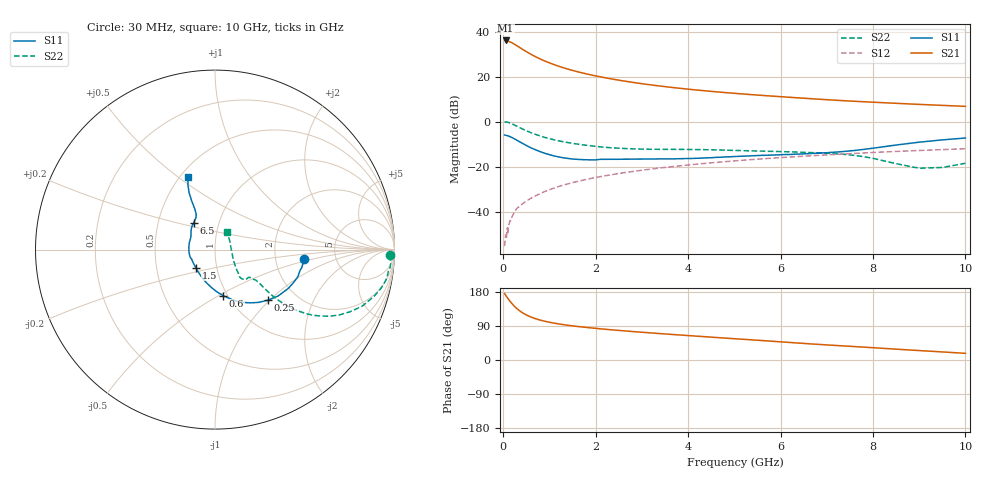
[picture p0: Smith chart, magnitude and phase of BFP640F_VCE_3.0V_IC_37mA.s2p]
! Infineon Technologies  Discrete & RF Semiconductors
! BFP640F
! VCE =  3.0 V,  IC =  37 mA
! Common Emitter S-Parameters:  Apr 2013
# GHz  S  MA  R  50
!  f  S11  S21  S12  S22
! GHz  MAG  ANG  MAG  ANG  MAG  ANG  MAG  ANG
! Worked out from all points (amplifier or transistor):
!   99 points, 30 MHz to 10 GHz, reference 50 ohm
!   highest |S21| = 36.0 dB at 50 MHz (marker M1)
!   |S21| within 3 dB of that: start of sweep to 345.3 MHz
!   unconditionally stable (mu >= 1): 1.663 GHz to end of sweep
!   at 350 MHz: K = 0.53, MSG = 35.3 dB, |S12| = -37.7 dB
!   at 3.5 GHz: K = 1.06, MAG = 16.5 dB, |S12| = -20.4 dB
!   at 10 GHz: K = 1.04, MAG = 8.2 dB, |S12| = -12.1 dB
!   S11 on the Smith chart (normalised r, x): 30 MHz: 2.95, -0.39; 250 MHz: 1.45, -0.98; 600 MHz: 0.95, -0.52; 1.5 GHz: 0.79, -0.16; 6.5 GHz: 0.76, +0.24; 10 GHz: 0.55, +0.54
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0.03  0.5011 -5.7  63.01 175.0  0.0017 77.4  0.9777 -1.8
0.05  0.4956 -9.3  63.3 171.5  0.003 121.8  0.9825 -4.3
0.11  0.478 -21.3  61.01 160.9  0.0047 87.9  0.9556 -12.1
0.15  0.4603 -28.4  58.69 154.6  0.0061 78.2  0.9235 -16.4
0.2  0.4358 -36.5  55.3 147.3  0.008 79.9  0.8786 -21.0
0.25  0.4078 -43.7  51.66 140.8  0.01 78.8  0.8288 -24.7
0.3  0.3817 -50.4  48.02 135.2  0.0119 75.5  0.7812 -27.8
0.4  0.3341 -61.8  41.32 126.0  0.0144 75.1  0.694 -32.2
0.5  0.2937 -71.3  35.73 118.9  0.0172 74.1  0.6234 -35.0
0.6  0.2605 -80.0  31.21 113.4  0.0197 74.4  0.5644 -36.8
0.7  0.2349 -87.6  27.55 108.9  0.0224 74.0  0.5169 -37.8
0.9  0.1966 -101.6  22.14 102.2  0.0279 73.9  0.4442 -38.7
1.1  0.1721 -114.4  18.39 97.2  0.0333 73.5  0.3923 -38.6
1.5  0.1468 -136.7  13.66 90.1  0.044 72.2  0.3272 -37.5
1.7  0.1426 -146.4  12.11 87.2  0.0491 71.5  0.3054 -36.9
2.4  0.1451 -171.4  8.636 79.1  0.0673 68.4  0.2589 -37.9
3.4  0.1481 164.7  6.135 69.6  0.093 63.6  0.2409 -41.3
5.1  0.1683 142.3  4.159 55.4  0.1358 54.6  0.227 -46.6
6.5  0.1913 128.2  3.297 43.8  0.1695 46.4  0.2069 -47.9
6.7  0.1954 125.9  3.198 42.1  0.1742 45.3  0.2032 -47.8
8.5  0.3005 115.6  2.54 28.6  0.2166 34.9  0.1159 -28.4
10  0.4306 110.4  2.176 17.6  0.2486 26.0  0.1181 56.0
